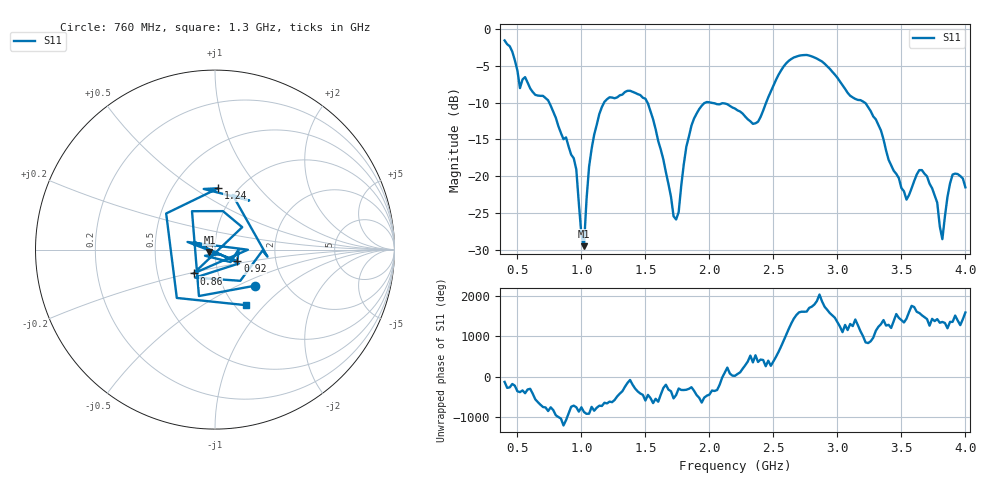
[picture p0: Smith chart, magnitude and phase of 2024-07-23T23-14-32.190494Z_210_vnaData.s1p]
!Created with skrf (http://scikit-rf.org).
# Hz S RI R 50.0
!freq ReS11 ImS11
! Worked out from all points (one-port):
!   181 points, 400 MHz to 4 GHz, reference 50 ohm
!   lowest |S11| = -29.5 dB at 1.02 GHz (marker M1), VSWR 1.07, Z = 47 - j1.2 ohm
!   |S11| at or under -10 dB: 1.516 GHz to 1.969 GHz (453.1 MHz wide, 26 % of centre); 2.009 GHz to 2.443 GHz (434 MHz wide, 19.5 % of centre); 3.213 GHz to end of sweep (the widest 3 of 4)
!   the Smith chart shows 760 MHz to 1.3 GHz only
!   S11 on the Smith chart (normalised r, x): 760 MHz: 1.42, -0.63; 860 MHz: 0.76, -0.21; 920 MHz: 1.27, -0.17; 1.24 GHz: 0.82, +0.63; 1.3 GHz: 1.12, -0.79
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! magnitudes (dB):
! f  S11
! 400 MHz  -1.6
! 520 MHz  -8.0
! 760 MHz  -10.4
! 860 MHz  -15.0
! 920 MHz  -17.1
! 960 MHz  -19.1
! 1.02 GHz  -29.5
! 1.06 GHz  -18.7
! 1.1 GHz  -14.3
! 1.24 GHz  -9.3
! 1.3 GHz  -9.0
! 1.52 GHz  -10.1
! 1.72 GHz  -25.4
! 1.76 GHz  -24.9
! 1.82 GHz  -16.0
! 1.9 GHz  -11.5
! 2.2 GHz  -10.8
! 2.38 GHz  -12.6
! 2.66 GHz  -3.9
! 2.88 GHz  -4.4
! 3.1 GHz  -9.1
! 3.3 GHz  -12.3
! 3.56 GHz  -22.5
! 3.7 GHz  -20.0
! 3.78 GHz  -23.6
! 3.82 GHz  -28.6
! 3.9 GHz  -19.8
! 4 GHz  -21.5
